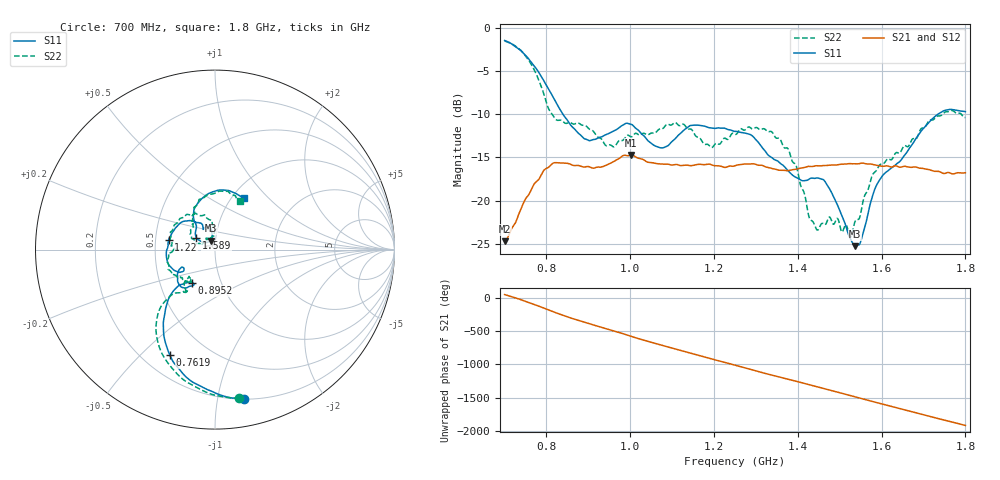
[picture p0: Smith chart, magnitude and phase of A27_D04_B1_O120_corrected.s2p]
! Created with skrf 1.9.0 (http://scikit-rf.org).
# Hz S RI R 50.0
!freq ReS11 ImS11 ReS21 ImS21 ReS12 ImS12 ReS22 ImS22
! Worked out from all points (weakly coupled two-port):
!   1601 points, 700 MHz to 1.8 GHz, reference 50 ohm
!   highest |S21| = -14.70 dB at 1.002 GHz (marker M1); lowest = -24.7 dB at 700 MHz (marker M2)
!   lowest |S11| = -25.3 dB at 1.536 GHz (marker M3), VSWR 1.12, Z = 47.5 + j4.7 ohm
!   |S11| at or under -10 dB: 839.2 MHz to 1.734 GHz (894.7 MHz wide, 69.5 % of centre)
!   |S22| runs from -24.2 to -1.5 dB; largest |S21 - S12| = 0.0033
!   S11 on the Smith chart (normalised r, x): 700 MHz: 0.20, -1.19; 761.9 MHz: 0.31, -0.62; 895.2 MHz: 0.72, -0.28; 1.22 GHz: 0.59, +0.07; 1.589 GHz: 0.80, +0.11; 1.8 GHz: 1.14, +0.73
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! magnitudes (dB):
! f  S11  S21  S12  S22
! 700 MHz  -1.4  -24.7  -24.5  -1.5
! 761.9 MHz  -3.9  -18.9  -18.9  -4.1
! 819.6 MHz  -8.3  -15.6  -15.7  -10.4
! 883.6 MHz  -12.5  -16.0  -15.9  -11.2
! 895.2 MHz  -12.9  -16.1  -16.2  -11.4
! 944.1 MHz  -12.3  -15.9  -15.9  -13.6
! 1.002 GHz  -11.2  -14.7  -14.8  -12.6
! 1.067 GHz  -13.8  -15.7  -15.7  -11.8
! 1.145 GHz  -11.3  -16.0  -15.9  -11.7
! 1.22 GHz  -11.6  -16.1  -16.1  -13.0
! 1.25 GHz  -12.0  -16.0  -15.9  -12.3
! 1.357 GHz  -15.6  -16.5  -16.4  -12.8
! 1.396 GHz  -17.3  -16.4  -16.3  -15.9
! 1.434 GHz  -17.4  -16.0  -16.0  -22.3
! 1.469 GHz  -18.1  -15.9  -15.9  -22.4
! 1.526 GHz  -24.4  -15.7  -15.7  -24.2
! 1.536 GHz  -25.3  -15.7  -15.7  -22.5
! 1.551 GHz  -24.6  -15.7  -15.7  -21.2
! 1.589 GHz  -18.1  -15.9  -15.9  -16.4
! 1.617 GHz  -16.5  -16.0  -16.0  -15.2
! 1.731 GHz  -10.1  -16.6  -16.6  -10.3
! 1.8 GHz  -9.7  -16.8  -16.8  -10.3
